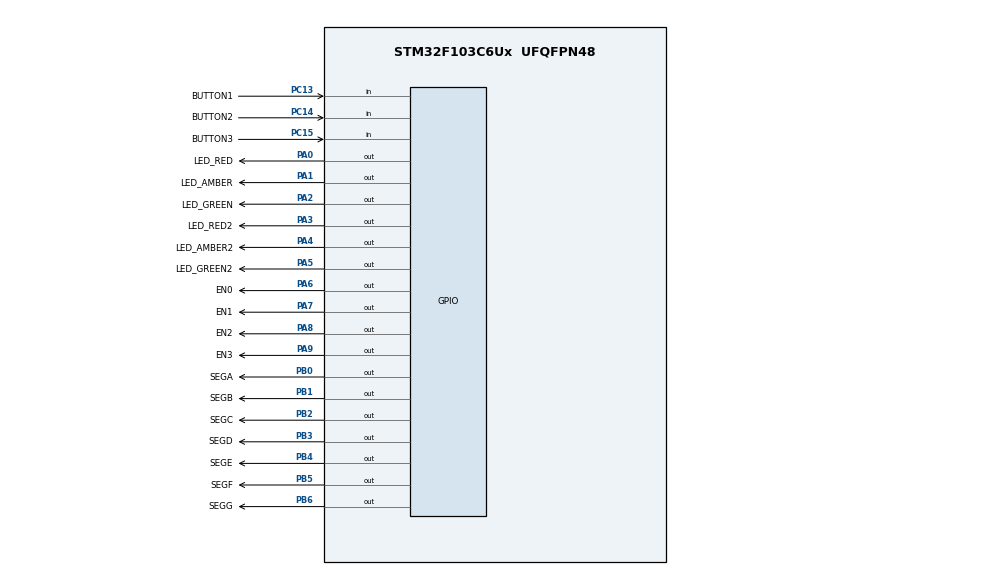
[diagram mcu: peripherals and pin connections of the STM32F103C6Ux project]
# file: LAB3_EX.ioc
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Mcu.Family=STM32F1
Mcu.Name=STM32F103C6Ux
Mcu.Package=UFQFPN48
NVIC.PriorityGroup=NVIC_PRIORITYGROUP_4
NVIC.TIM2_IRQn=true\:0\:0\:false\:false\:true\:true\:true
PA0-WKUP.GPIO_Label=LED_RED
PA0-WKUP.Signal=GPIO_Output
PA1.GPIO_Label=LED_AMBER
PA1.Signal=GPIO_Output
PA2.GPIO_Label=LED_GREEN
PA2.Signal=GPIO_Output
PA3.GPIO_Label=LED_RED2
PA3.Signal=GPIO_Output
PA4.GPIO_Label=LED_AMBER2
PA4.Signal=GPIO_Output
PA5.GPIO_Label=LED_GREEN2
PA5.Signal=GPIO_Output
PA6.GPIO_Label=EN0
PA6.Signal=GPIO_Output
PA7.GPIO_Label=EN1
PA7.Signal=GPIO_Output
PA8.GPIO_Label=EN2
PA8.Signal=GPIO_Output
PA9.GPIO_Label=EN3
PA9.Signal=GPIO_Output
PB0.GPIO_Label=SEGA
PB0.Signal=GPIO_Output
PB1.GPIO_Label=SEGB
PB1.Signal=GPIO_Output
PB2.GPIO_Label=SEGC
PB2.Signal=GPIO_Output
PB3.GPIO_Label=SEGD
PB3.Signal=GPIO_Output
PB4.GPIO_Label=SEGE
PB4.Signal=GPIO_Output
PB5.GPIO_Label=SEGF
PB5.Signal=GPIO_Output
PB6.GPIO_Label=SEGG
PB6.Signal=GPIO_Output
PC13-TAMPER-RTC.GPIO_Label=BUTTON1
PC13-TAMPER-RTC.GPIO_PuPd=GPIO_PULLUP
PC13-TAMPER-RTC.Signal=GPIO_Input
PC14-OSC32_IN.GPIO_Label=BUTTON2
PC14-OSC32_IN.GPIO_PuPd=GPIO_PULLUP
PC14-OSC32_IN.Signal=GPIO_Input
PC15-OSC32_OUT.GPIO_Label=BUTTON3
PC15-OSC32_OUT.GPIO_PuPd=GPIO_PULLUP
PC15-OSC32_OUT.Signal=GPIO_Input
ProjectManager.HeapSize=0x200
ProjectManager.StackSize=0x400
ProjectManager.TargetToolchain=STM32CubeIDE
RCC.APB1Freq_Value=8000000
RCC.APB2Freq_Value=8000000
TIM2.Period=9
TIM2.Prescaler=7999
VP_SYS_VS_ND.Mode=No_Debug
VP_TIM2_VS_ClockSourceINT.Mode=Internal
board=custom

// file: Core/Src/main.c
/* USER CODE BEGIN Header */
/**
  ******************************************************************************
  * @file           : main.c
  * @brief          : Main program body
  ******************************************************************************
  * @attention
  *
  * <h2><center>&copy; Copyright (c) 2023 STMicroelectronics.
  * All rights reserved.</center></h2>
  *
  * This software component is licensed by ST under BSD 3-Clause license,
  * the "License"; You may not use this file except in compliance with the
  * License. You may obtain a copy of the License at:
  *                        opensource.org/licenses/BSD-3-Clause
  *
  ******************************************************************************
  */
/* USER CODE END Header */
#include "main.h"

/* USER CODE BEGIN Includes */
#include "fsm_automatic.h"
#include "fsm_manual.h"
/* USER CODE END Includes */

TIM_HandleTypeDef htim2;

void SystemClock_Config(void);
static void MX_TIM2_Init(void);
static void MX_GPIO_Init(void);

int main(void)
{

  /* MCU Configuration--------------------------------------------------------*/

  /* Reset of all peripherals, Initializes the Flash interface and the Systick. */
  HAL_Init();

  /* Configure the system clock */
  SystemClock_Config();

  /* Initialize all configured peripherals */
  MX_TIM2_Init();
  MX_GPIO_Init();
  /* USER CODE BEGIN 2 */
  HAL_TIM_Base_Start_IT (& htim2 );
  /* USER CODE END 2 */

  /* Infinite loop */
  /* USER CODE BEGIN WHILE */
  initButton();
  Init7SEG();
  setTimer2(1000);
  setTimer1(1000);
  setTimer3(250);
  int index_led = 0;
  fsm_automatic_run();
  while (1)
  {
	  if (timer1_flag)
	  {
		  setTimer1(1000);
		  fsm_automatic_run();

	  }

	  if (timer2_flag)
	  {
		  setTimer2(250);
		  update7SEG(index_led++);
		  if (index_led >= 4) index_led = 0;
	  }
	  if(timer3_flag)
	  {
		  setTimer3(250);
		  fsm_manual_run();
	  }

    /* USER CODE END WHILE */

  }
}

void SystemClock_Config(void)
{
  RCC_OscInitTypeDef RCC_OscInitStruct = {0};
  RCC_ClkInitTypeDef RCC_ClkInitStruct = {0};

  /** Initializes the RCC Oscillators according to the specified parameters
  * in the RCC_OscInitTypeDef structure.
  */
  RCC_OscInitStruct.OscillatorType = RCC_OSCILLATORTYPE_HSI;
  RCC_OscInitStruct.HSIState = RCC_HSI_ON;
  RCC_OscInitStruct.HSICalibrationValue = RCC_HSICALIBRATION_DEFAULT;
  RCC_OscInitStruct.PLL.PLLState = RCC_PLL_NONE;
  if (HAL_RCC_OscConfig(&RCC_OscInitStruct) != HAL_OK)
  {
    Error_Handler();
  }
  /** Initializes the CPU, AHB and APB buses clocks
  */
  RCC_ClkInitStruct.ClockType = RCC_CLOCKTYPE_HCLK|RCC_CLOCKTYPE_SYSCLK
                              |RCC_CLOCKTYPE_PCLK1|RCC_CLOCKTYPE_PCLK2;
  RCC_ClkInitStruct.SYSCLKSource = RCC_SYSCLKSOURCE_HSI;
  RCC_ClkInitStruct.AHBCLKDivider = RCC_SYSCLK_DIV1;
  RCC_ClkInitStruct.APB1CLKDivider = RCC_HCLK_DIV1;
  RCC_ClkInitStruct.APB2CLKDivider = RCC_HCLK_DIV1;

  if (HAL_RCC_ClockConfig(&RCC_ClkInitStruct, FLASH_LATENCY_0) != HAL_OK)
  {
    Error_Handler();
  }
}

static void MX_TIM2_Init(void)
{

  TIM_ClockConfigTypeDef sClockSourceConfig = {0};
  TIM_MasterConfigTypeDef sMasterConfig = {0};

  htim2.Instance = TIM2;
  htim2.Init.Prescaler = 7999;
  htim2.Init.CounterMode = TIM_COUNTERMODE_UP;
  htim2.Init.Period = 9;
  htim2.Init.ClockDivision = TIM_CLOCKDIVISION_DIV1;
  htim2.Init.AutoReloadPreload = TIM_AUTORELOAD_PRELOAD_DISABLE;
  if (HAL_TIM_Base_Init(&htim2) != HAL_OK)
  {
    Error_Handler();
  }
  sClockSourceConfig.ClockSource = TIM_CLOCKSOURCE_INTERNAL;
  if (HAL_TIM_ConfigClockSource(&htim2, &sClockSourceConfig) != HAL_OK)
  {
    Error_Handler();
  }
  sMasterConfig.MasterOutputTrigger = TIM_TRGO_RESET;
  sMasterConfig.MasterSlaveMode = TIM_MASTERSLAVEMODE_DISABLE;
  if (HAL_TIMEx_MasterConfigSynchronization(&htim2, &sMasterConfig) != HAL_OK)
  {
    Error_Handler();
  }
  /* USER CODE BEGIN TIM2_Init 2 */
  TICK = ((1 + (float)htim2.Init.Prescaler) * (1 + (float)htim2.Init.Period)) / 8000000 * 1000;
  /* USER CODE END TIM2_Init 2 */

}

static void MX_GPIO_Init(void)
{
  GPIO_InitTypeDef GPIO_InitStruct = {0};

  /* GPIO Ports Clock Enable */
  __HAL_RCC_GPIOC_CLK_ENABLE();
  __HAL_RCC_GPIOA_CLK_ENABLE();
  __HAL_RCC_GPIOB_CLK_ENABLE();

  /*Configure GPIO pin Output Level */
  HAL_GPIO_WritePin(GPIOA, LED_RED_Pin|LED_AMBER_Pin|LED_GREEN_Pin|LED_RED2_Pin
                          |LED_AMBER2_Pin|LED_GREEN2_Pin|EN0_Pin|EN1_Pin
                          |EN2_Pin|EN3_Pin, GPIO_PIN_RESET);

  /*Configure GPIO pin Output Level */
  HAL_GPIO_WritePin(GPIOB, SEGA_Pin|SEGB_Pin|SEGC_Pin|SEGD_Pin
                          |SEGE_Pin|SEGF_Pin|SEGG_Pin, GPIO_PIN_RESET);

  /*Configure GPIO pins : BUTTON1_Pin BUTTON2_Pin BUTTON3_Pin */
  GPIO_InitStruct.Pin = BUTTON1_Pin|BUTTON2_Pin|BUTTON3_Pin;
  GPIO_InitStruct.Mode = GPIO_MODE_INPUT;
  GPIO_InitStruct.Pull = GPIO_PULLUP;
  HAL_GPIO_Init(GPIOC, &GPIO_InitStruct);

  /*Configure GPIO pins : LED_RED_Pin LED_AMBER_Pin LED_GREEN_Pin LED_RED2_Pin
                           LED_AMBER2_Pin LED_GREEN2_Pin EN0_Pin EN1_Pin
                           EN2_Pin EN3_Pin */
  GPIO_InitStruct.Pin = LED_RED_Pin|LED_AMBER_Pin|LED_GREEN_Pin|LED_RED2_Pin
                          |LED_AMBER2_Pin|LED_GREEN2_Pin|EN0_Pin|EN1_Pin
                          |EN2_Pin|EN3_Pin;
  GPIO_InitStruct.Mode = GPIO_MODE_OUTPUT_PP;
  GPIO_InitStruct.Pull = GPIO_NOPULL;
  GPIO_InitStruct.Speed = GPIO_SPEED_FREQ_LOW;
  HAL_GPIO_Init(GPIOA, &GPIO_InitStruct);

  /*Configure GPIO pins : SEGA_Pin SEGB_Pin SEGC_Pin SEGD_Pin
                           SEGE_Pin SEGF_Pin SEGG_Pin */
  GPIO_InitStruct.Pin = SEGA_Pin|SEGB_Pin|SEGC_Pin|SEGD_Pin
                          |SEGE_Pin|SEGF_Pin|SEGG_Pin;
  GPIO_InitStruct.Mode = GPIO_MODE_OUTPUT_PP;
  GPIO_InitStruct.Pull = GPIO_NOPULL;
  GPIO_InitStruct.Speed = GPIO_SPEED_FREQ_LOW;
  HAL_GPIO_Init(GPIOB, &GPIO_InitStruct);

}

/* USER CODE BEGIN 4 */
	void HAL_TIM_PeriodElapsedCallback ( TIM_HandleTypeDef * htim )
	{

		getKeyInput();
		timerRun();
	}
/* USER CODE END 4 */

void Error_Handler(void)
{
  __disable_irq();
  while (1)
  {
  }
}

/************************ (C) COPYRIGHT STMicroelectronics *****END OF FILE****/
